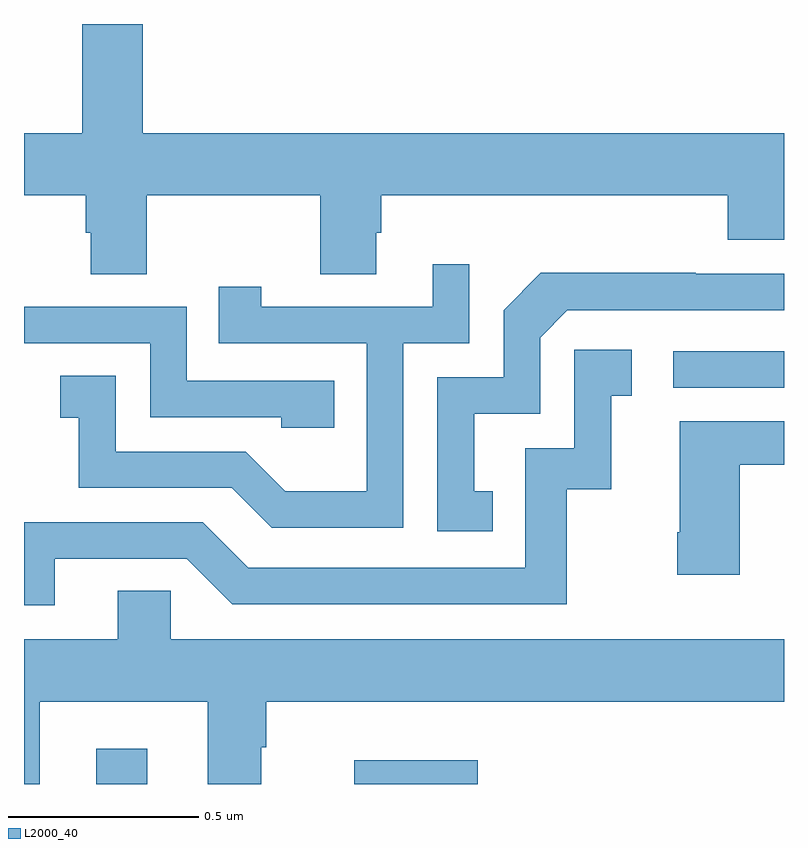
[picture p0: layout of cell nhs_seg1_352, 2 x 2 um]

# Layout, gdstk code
import gdstk
lib = gdstk.Library(unit=1e-6, precision=1e-09)
def R(c, l, rs):  # rectangles x0, y0, x1, y1
    for r in rs: c.add(gdstk.rectangle(r[:2], r[2:], *l))
def P(c, l, *ps):  # polygons
    for p in ps: c.add(gdstk.Polygon(p, *l))
L2000_40 = (2000, 40)

nhs_seg1_352 = lib.new_cell('nhs_seg1_352')
R(nhs_seg1_352, L2000_40, [(115.19,534.199,115.324,534.292), (115.869,534.199,116.194,534.262), (116.709,535.242,117,535.338)])
P(nhs_seg1_352, L2000_40, [(115.323,535.748),(115.78,535.748),(115.78,535.54),(115.927,535.54),(115.927,535.65),(115.94,535.65),(115.94,535.748),(116.852,535.748),(116.852,535.631),(117,535.631),(117,535.912),(115.313,535.912),(115.313,536.199),(115.153,536.199),(115.153,535.912),(115,535.912),(115,535.748),(115.163,535.748),(115.163,535.65),(115.175,535.65),(115.175,535.54),(115.323,535.54)],
  [(115.998,535.359),(116.172,535.359),(116.172,535.567),(116.075,535.567),(116.075,535.455),(115.624,535.455),(115.624,535.507),(115.513,535.507),(115.513,535.359),(115.902,535.359),(115.902,534.97),(115.688,534.97),(115.584,535.074),(115.242,535.074),(115.242,535.273),(115.095,535.273),(115.095,535.163),(115.144,535.163),(115.144,534.978),(115.547,534.978),(115.652,534.873),(115.998,534.873)],
  [(116.234,534.969),(116.185,534.969),(116.185,535.173),(116.358,535.173),(116.358,535.374),(116.43,535.446),(117,535.446),(117,535.542),(116.768,535.542),(116.768,535.544),(116.36,535.544),(116.262,535.446),(116.262,535.269),(116.088,535.269),(116.088,534.864),(116.234,534.864)],
  [(115.817,535.26),(115.428,535.26),(115.428,535.455),(115,535.455),(115,535.359),(115.332,535.359),(115.332,535.164),(115.677,535.164),(115.677,535.137),(115.817,535.137)],
  [(115.081,534.792),(115.428,534.792),(115.548,534.672),(116.428,534.672),(116.428,534.975),(116.546,534.975),(116.546,535.221),(116.599,535.221),(116.599,535.342),(116.448,535.342),(116.448,535.083),(116.319,535.083),(116.319,534.768),(115.59,534.768),(115.47,534.888),(115,534.888),(115,534.669),(115.081,534.669)],
  [(116.884,535.039),(117,535.039),(117,535.153),(116.726,535.153),(116.726,534.862),(116.719,534.862),(116.719,534.75),(116.884,534.75)],
  [(115.042,534.416),(115.484,534.416),(115.484,534.199),(115.624,534.199),(115.624,534.296),(115.637,534.296),(115.637,534.416),(117,534.416),(117,534.58),(115.386,534.58),(115.386,534.707),(115.247,534.707),(115.247,534.58),(115,534.58),(115,534.199),(115.042,534.199)])

lib.write_gds('nhs_seg1_352.gds')
